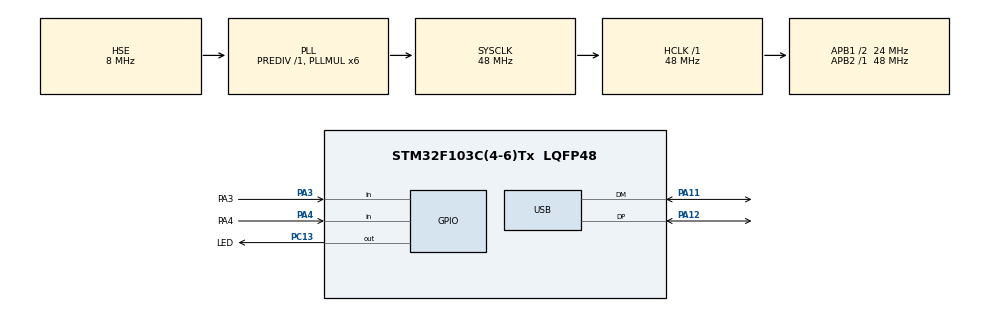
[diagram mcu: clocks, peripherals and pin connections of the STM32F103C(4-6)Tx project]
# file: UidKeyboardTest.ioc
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Mcu.Family=STM32F1
Mcu.Name=STM32F103C(4-6)Tx
Mcu.Package=LQFP48
NVIC.PriorityGroup=NVIC_PRIORITYGROUP_4
NVIC.USB_LP_CAN1_RX0_IRQn=true\:0\:0\:false\:false\:true\:false\:true\:true
PA11.Mode=Device
PA11.Signal=USB_DM
PA12.Mode=Device
PA12.Signal=USB_DP
PA13.Mode=Serial_Wire
PA13.Signal=SYS_JTMS-SWDIO
PA14.Mode=Serial_Wire
PA14.Signal=SYS_JTCK-SWCLK
PA3.GPIO_Label=PA3
PA3.Signal=GPIO_Input
PA4.GPIO_Label=PA4
PA4.Signal=GPIO_Input
PC13-TAMPER-RTC.GPIO_Label=LED
PC13-TAMPER-RTC.Signal=GPIO_Output
PD0-OSC_IN.Mode=HSE-External-Oscillator
PD0-OSC_IN.Signal=RCC_OSC_IN
PD1-OSC_OUT.Mode=HSE-External-Oscillator
PD1-OSC_OUT.Signal=RCC_OSC_OUT
ProjectManager.HeapSize=0x200
ProjectManager.StackSize=0x400
ProjectManager.TargetToolchain=MDK-ARM V5.32
RCC.AHBFreq_Value=48000000
RCC.APB1CLKDivider=RCC_HCLK_DIV2
RCC.APB1Freq_Value=24000000
RCC.APB1TimFreq_Value=48000000
RCC.APB2Freq_Value=48000000
RCC.APB2TimFreq_Value=48000000
RCC.HCLKFreq_Value=48000000
RCC.PLLMUL=RCC_PLL_MUL6
RCC.SYSCLKFreq_VALUE=48000000
RCC.SYSCLKSource=RCC_SYSCLKSOURCE_PLLCLK
RCC.USBFreq_Value=48000000
USB_DEVICE.CLASS_NAME_FS=HID
USB_DEVICE.VirtualMode=Hid
USB_DEVICE.VirtualModeFS=Hid_FS
VP_USB_DEVICE_VS_USB_DEVICE_HID_FS.Mode=HID_FS
board=custom

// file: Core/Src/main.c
/* USER CODE BEGIN Header */
/**
  ******************************************************************************
  * @file           : main.c
  * @brief          : Main program body
  ******************************************************************************
  * @attention
  *
  * Copyright (c) 2022 STMicroelectronics.
  * All rights reserved.
  *
  * This software is licensed under terms that can be found in the LICENSE file
  * in the root directory of this software component.
  * If no LICENSE file comes with this software, it is provided AS-IS.
  *
  ******************************************************************************
  */
/* USER CODE END Header */
#include "main.h"
#include "usb_device.h"
#include "gpio.h"
#include "usbd_hid.h"

/* USER CODE BEGIN PV */
//typedef struct
//{
//	uint8_t MODIFIER;
//	uint8_t RESERVED;
//	uint8_t KEYCODE1;
//	uint8_t KEYCODE2;
//	uint8_t KEYCODE3;
//	uint8_t KEYCODE4;
//	uint8_t KEYCODE5;
//	uint8_t KEYCODE6;
//} keyboardHID;
//keyboardHID keyboardhid = {0,0,0,0,0,0,0,0};

extern USBD_HandleTypeDef hUsbDeviceFS;

typedef struct
{
    uint8_t report_id;
    uint8_t modifier;
    uint8_t reserved;
    uint8_t keycode[6];
} keyboard_report_t;

typedef struct
{
    uint8_t report_id;
    uint8_t buttons;
    int8_t x;
    int8_t y;
		int8_t wheel;
		int8_t pan;
} mouse_report_t;

typedef struct
{
    uint8_t report_id;
    uint8_t buttons;
} consumer_report_t;

keyboard_report_t keyboardRpt = {1,0,0,0,0,0,0,0,0};
mouse_report_t mouseRpt = {2,0,0,0,0,0};
consumer_report_t consumerRpt = {3,0};
/* USER CODE END PV */

void SystemClock_Config(void);

int main(void)
{

  /* MCU Configuration--------------------------------------------------------*/

  /* Reset of all peripherals, Initializes the Flash interface and the Systick. */
  HAL_Init();

  /* Configure the system clock */
  SystemClock_Config();

  /* Initialize all configured peripherals */
  MX_GPIO_Init();
  MX_USB_DEVICE_Init();
  /* USER CODE BEGIN 2 */

	uint8_t isPressed = 0;//rotary between clicks or clicked
	uint8_t status = 0;// rotary rotating status:		1:clockwise		2:counter-clockwise

  /* USER CODE END 2 */

  /* Infinite loop */
  while (1)
  {
		GPIO_PinState s1 = HAL_GPIO_ReadPin(PA3_GPIO_Port,PA3_Pin);
		GPIO_PinState s2 = HAL_GPIO_ReadPin(PA4_GPIO_Port,PA4_Pin);

		//led indicator
		if(s1==0 || s2==0)//rotary moved
			HAL_GPIO_WritePin(LED_GPIO_Port,LED_Pin,GPIO_PIN_RESET);//low = led on
		else
			HAL_GPIO_WritePin(LED_GPIO_Port,LED_Pin,GPIO_PIN_SET);

		if(s1==0 && s2==0)
		{
			isPressed=1;
		}
		else if(s1==1&&s2==0)//clockwise (s1:clk s2:dt)
			status=1;
		else if(s1==0&&s2==1)//counter-clockwise (s1:clk s2:dt)
			status=2;
		else if(s1==1&&s2==1)//released
		{
			if(isPressed==1)//release from pressed
			{
//				//Keyboard
//				if(status==1)
//					keyboardRpt.keycode[0]=0x4f;//RightArrow
//				else if(status==2)
//					keyboardRpt.keycode[0]=0x50;//LeftArrow
//				//press key and release
//				USBD_HID_SendReport(&hUsbDeviceFS,(uint8_t*)&keyboardRpt,sizeof(keyboardRpt));
//				HAL_Delay(50);
//				keyboardRpt.keycode[0]=0;
//				USBD_HID_SendReport(&hUsbDeviceFS,(uint8_t*)&keyboardRpt,sizeof(keyboardRpt));

//				//Consumer Device
//				if(status==1)
//					consumerRpt.buttons=0b01000000;//VolumeIncrement
//				else if(status==2)
//					consumerRpt.buttons=0b10000000;//VolumeDecrement
//				//press key and release
//				USBD_HID_SendReport(&hUsbDeviceFS,(uint8_t*)&consumerRpt,sizeof(consumerRpt));
//				HAL_Delay(50);
//				consumerRpt.buttons=0;
//				USBD_HID_SendReport(&hUsbDeviceFS,(uint8_t*)&consumerRpt,sizeof(consumerRpt));

				//Mouse
				if(status==1)
				{
//					mouseRpt.buttons=0b00000001;
//					mouseRpt.x=10;
//					mouseRpt.y=10;
//					mouseRpt.wheel=1;
					mouseRpt.pan=1;
				}
				else if(status==2)
				{
//					mouseRpt.buttons=0b00000010;
//					mouseRpt.x=-10;
//					mouseRpt.y=-10;
//					mouseRpt.wheel=-1;
					mouseRpt.pan=-1;
				}
				//press key and release
				USBD_HID_SendReport(&hUsbDeviceFS,(uint8_t*)&mouseRpt,sizeof(mouseRpt));
//				HAL_Delay(50);
//				mouseRpt.buttons=0b00000000;
//				USBD_HID_SendReport(&hUsbDeviceFS,(uint8_t*)&mouseRpt,sizeof(mouseRpt));
			}

			isPressed=0;
		}
  }
}

void SystemClock_Config(void)
{
  RCC_OscInitTypeDef RCC_OscInitStruct = {0};
  RCC_ClkInitTypeDef RCC_ClkInitStruct = {0};
  RCC_PeriphCLKInitTypeDef PeriphClkInit = {0};

  /** Initializes the RCC Oscillators according to the specified parameters
  * in the RCC_OscInitTypeDef structure.
  */
  RCC_OscInitStruct.OscillatorType = RCC_OSCILLATORTYPE_HSE;
  RCC_OscInitStruct.HSEState = RCC_HSE_ON;
  RCC_OscInitStruct.HSEPredivValue = RCC_HSE_PREDIV_DIV1;
  RCC_OscInitStruct.HSIState = RCC_HSI_ON;
  RCC_OscInitStruct.PLL.PLLState = RCC_PLL_ON;
  RCC_OscInitStruct.PLL.PLLSource = RCC_PLLSOURCE_HSE;
  RCC_OscInitStruct.PLL.PLLMUL = RCC_PLL_MUL6;
  if (HAL_RCC_OscConfig(&RCC_OscInitStruct) != HAL_OK)
  {
    Error_Handler();
  }

  /** Initializes the CPU, AHB and APB buses clocks
  */
  RCC_ClkInitStruct.ClockType = RCC_CLOCKTYPE_HCLK|RCC_CLOCKTYPE_SYSCLK
                              |RCC_CLOCKTYPE_PCLK1|RCC_CLOCKTYPE_PCLK2;
  RCC_ClkInitStruct.SYSCLKSource = RCC_SYSCLKSOURCE_PLLCLK;
  RCC_ClkInitStruct.AHBCLKDivider = RCC_SYSCLK_DIV1;
  RCC_ClkInitStruct.APB1CLKDivider = RCC_HCLK_DIV2;
  RCC_ClkInitStruct.APB2CLKDivider = RCC_HCLK_DIV1;

  if (HAL_RCC_ClockConfig(&RCC_ClkInitStruct, FLASH_LATENCY_1) != HAL_OK)
  {
    Error_Handler();
  }
  PeriphClkInit.PeriphClockSelection = RCC_PERIPHCLK_USB;
  PeriphClkInit.UsbClockSelection = RCC_USBCLKSOURCE_PLL;
  if (HAL_RCCEx_PeriphCLKConfig(&PeriphClkInit) != HAL_OK)
  {
    Error_Handler();
  }
}

void Error_Handler(void)
{
  __disable_irq();
  while (1)
  {
  }
}
